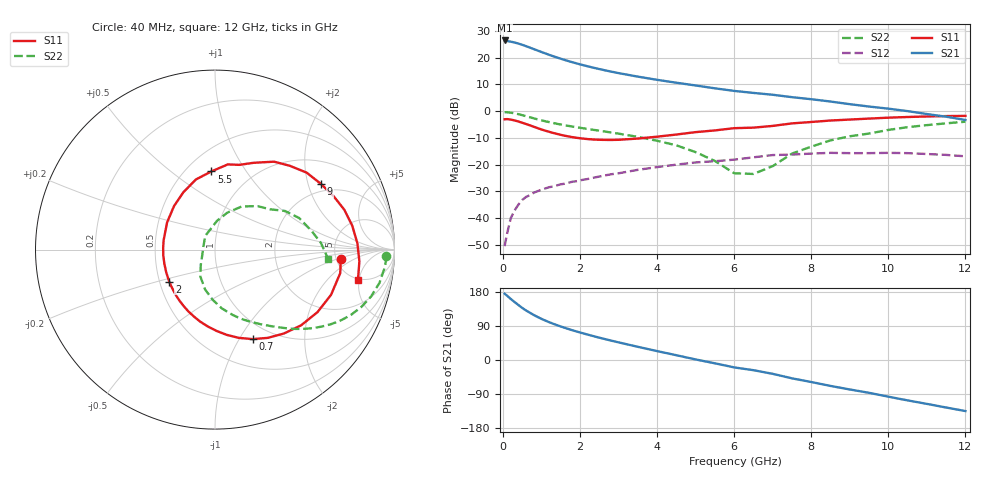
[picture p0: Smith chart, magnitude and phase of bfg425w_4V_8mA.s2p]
! Filename: 48bfg425.001
! BFG425W Field C1
! V1=8.298E-001V,V2=4.000E+000V, I1=8.674E-005A, I2=7.990E-003A
# GHz  S  MA  R 50
!  S11  S21  S12  S22
!Freq(GHz)  Mag  Ang  Mag  Ang  Mag  Ang  Mag  Ang
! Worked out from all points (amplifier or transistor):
!   44 points, 40 MHz to 12 GHz, reference 50 ohm
!   highest |S21| = 26.4 dB at 40 MHz (marker M1)
!   |S21| within 3 dB of that: start of sweep to 755.8 MHz
!   unconditionally stable (mu >= 1): 2.059 GHz to end of sweep
!   at 700 MHz: K = 0.48, MSG = 27.5 dB, |S12| = -31.4 dB
!   at 2.4 GHz: K = 1.08, MAG = 18.7 dB, |S12| = -24.7 dB
!   at 12 GHz: K = 1.42, MAG = 2.9 dB, |S12| = -16.9 dB
!   S11 on the Smith chart (normalised r, x): 40 MHz: 5.48, -1.17; 700 MHz: 0.81, -1.14; 2 GHz: 0.56, -0.22; 5.5 GHz: 0.66, +0.71; 9 GHz: 1.72, +2.43; 12 GHz: 4.87, -4.82
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0.04  0.703 -4.4  20.87 174.9  0.003 46.5  0.956 -2.2
0.2  0.694 -21.3  19.82 161.1  0.01 71.4  0.935 -11.4
0.3  0.669 -31.4  19.08 152.9  0.014 68.8  0.908 -16.7
0.4  0.639 -41.3  18.23 144.9  0.018 65.4  0.875 -21.5
0.5  0.605 -50.6  17.31 137.2  0.022 61.7  0.839 -25.8
0.6  0.573 -59.1  16.28 130.5  0.025 58.9  0.802 -29.6
0.7  0.541 -67.2  15.3 124.5  0.027 56.0  0.766 -32.9
0.9  0.48 -82.1  13.5 113.4  0.032 51.9  0.701 -38.6
1.2  0.41 -101.6  11.23 99.6  0.038 47.5  0.622 -45.2
1.4  0.375 -113.3  10.03 91.9  0.041 45.5  0.579 -48.9
1.6  0.347 -124.5  9.024 84.9  0.044 43.9  0.544 -52.2
2  0.311 -145.1  7.463 72.5  0.051 41.0  0.488 -58.5
2.2  0.3 -154.9  6.856 66.9  0.054 39.6  0.463 -61.7
3  0.291 169.5  5.123 46.5  0.069 33.3  0.379 -74.6
3.5  0.307 150.3  4.401 34.8  0.08 28.2  0.33 -83.3
4.5  0.365 118.8  3.388 12.6  0.1 16.1  0.229 -103.9
5.5  0.436 92.6  2.662 -8.8  0.116 2.1  0.117 -132.7
6.5  0.491 74.1  2.185 -26.9  0.137 -8.4  0.067 167.2
8.5  0.667 40.0  1.509 -68.4  0.166 -45.0  0.284 58.0
9  0.695 31.7  1.347 -77.8  0.164 -53.3  0.339 45.5
10.5  0.776 10.0  0.999 -106.6  0.164 -80.6  0.501 20.6
12  0.814 -11.8  0.683 -134.7  0.143 -111.4  0.634 -4.9
